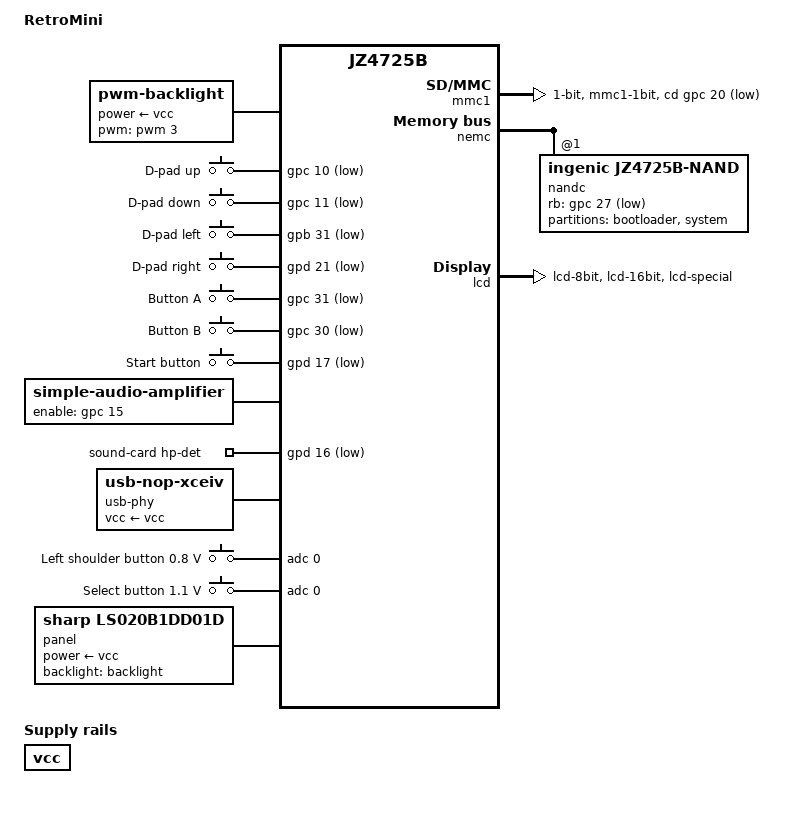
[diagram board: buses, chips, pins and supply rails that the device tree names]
// SPDX-License-Identifier: GPL-2.0
/dts-v1/;

#include "jz4725b.dtsi"

#include <dt-bindings/gpio/gpio.h>
#include <dt-bindings/input/input.h>
#include <dt-bindings/display/ingenic,jz4740-drm.h>

/ {
	compatible = "retromini", "ingenic,jz4725b";
	model = "RetroMini";

	aliases {
		serial0 = &uart;
	};

	chosen {
		stdout-path = "serial0:57600n8";
	};

	board {
		#address-cells = <1>;
		#size-cells = <1>;
		compatible = "simple-bus";
		ranges = <>;

		backlight: backlight {
			compatible = "pwm-backlight";
			pwms = <&pwm 3 40000 0>;

			brightness-levels = <0 16 32 48 64 80 96 112 128 144 160 176 192 208 224 240 255>;
			default-brightness-level = <12>;

			pinctrl-names = "default";
			pinctrl-0 = <&pins_pwm3>;

			power-supply = <&vcc>;
		};

		gpio-keys {
			compatible = "gpio-keys";
			#address-cells = <1>;
			#size-cells = <0>;

			autorepeat;

			button@0 {
				label = "D-pad up";
				linux,code = <KEY_UP>;
				gpios = <&gpc 10 GPIO_ACTIVE_LOW>;
				debounce-interval = <10>;
			};

			button@1 {
				label = "D-pad down";
				linux,code = <KEY_DOWN>;
				gpios = <&gpc 11 GPIO_ACTIVE_LOW>;
				debounce-interval = <10>;
			};

			button@2 {
				label = "D-pad left";
				linux,code = <KEY_LEFT>;
				gpios = <&gpb 31 GPIO_ACTIVE_LOW>;
				debounce-interval = <10>;
			};

			button@3 {
				label = "D-pad right";
				linux,code = <KEY_RIGHT>;
				gpios = <&gpd 21 GPIO_ACTIVE_LOW>;
				debounce-interval = <10>;
			};

			button@4 {
				label = "Button A";
				linux,code = <KEY_A>;
				gpios = <&gpc 31 GPIO_ACTIVE_LOW>;
				debounce-interval = <10>;
			};

			button@5 {
				label = "Button B";
				linux,code = <KEY_B>;
				gpios = <&gpc 30 GPIO_ACTIVE_LOW>;
				debounce-interval = <10>;
			};

/*
			button@6 {
				label = "Left shoulder button";
				linux,code = <KEY_TAB>;
				gpios = <&gpc 9 GPIO_ACTIVE_HIGH>;
				debounce-interval = <10>;
			};

			button@7 {
				label = "Right shoulder button";
				linux,code = <KEY_BACKSPACE>;
				gpios = <&gpc 12 GPIO_ACTIVE_LOW>;
				debounce-interval = <10>;
			};
			*/

			button@8 {
				label = "Start button";
				linux,code = <KEY_ENTER>;
				gpios = <&gpd 17 GPIO_ACTIVE_LOW>;
				debounce-interval = <10>;
			};
		};

		amp: audio-amp {
			compatible = "simple-audio-amplifier";
			enable-gpios = <&gpc 15 GPIO_ACTIVE_HIGH>;
		};

		sound-card {
			compatible = "simple-audio-card";

			simple-audio-card,name = "rs90-audio";
			simple-audio-card,format = "i2s";

			simple-audio-card,widgets =
				"Speaker", "Speaker",
				"Headphone", "Headphones";
			simple-audio-card,routing =
				"INL", "LHPOUT",
				"INR", "RHPOUT",
				"Headphones", "LHPOUT",
				"Headphones", "RHPOUT",
				"Speaker", "OUTL",
				"Speaker", "OUTR";

			simple-audio-card,hp-det-gpio = <&gpd 16 GPIO_ACTIVE_LOW>;
			simple-audio-card,aux-devs = <&amp>;

			simple-audio-card,bitclock-master = <&dai_codec>;
			simple-audio-card,frame-master = <&dai_codec>;

			dai_cpu: simple-audio-card,cpu {
				sound-dai = <&aic>;
			};

			dai_codec: simple-audio-card,codec {
				sound-dai = <&codec>;
			};

		};

		regulators {
			#address-cells = <1>;
			#size-cells = <0>;
			compatible = "simple-bus";

			vcc: regulator@0 {
				compatible = "regulator-fixed";

				regulator-name = "vcc";
				regulaor-min-microvolt = <3300000>;
				regulaor-max-microvolt = <3300000>;
				regulator-always-on;
			};
		};

		usb-phy {
			compatible = "usb-nop-xceiv";
			#phy-cells = <0>;

			clocks = <&cgu JZ4725B_CLK_UDC_PHY>;
			clock-names = "main_clk";
			vcc-supply = <&vcc>;
		};

		adc-keys {
			compatible = "adc-keys";
			io-channels = <&adc 0>;
			io-channel-names = "buttons";
			keyup-threshold-microvolt = <1400000>;
			poll-interval = <30>;
			autorepeat = <1>;

			left-shoulder {
				label = "Left shoulder button";
				linux,code = <KEY_TAB>;
				press-threshold-microvolt = <800000>;
			};
			button-select {
				label = "Select button";
				linux,code = <KEY_ESC>;
				press-threshold-microvolt = <1100000>;
			};
		};

		panel: panel {
			compatible = "sharp,ls020b1dd01d";

			backlight = <&backlight>;
			power-supply = <&vcc>;
		};
	};
};

&ext {
	clock-frequency = <12000000>;
};

&rtc_dev {
	system-power-controller;
};

&pinctrl {
	pins_mmc1: mmc1 {
		function = "mmc1";
		groups = "mmc1-1bit";
	};

	pins_uart: uart {
		function = "uart";
		groups = "uart-data";
	};

	pins_nemc: nemc {
		function = "nand";
		groups = "nand-cs1", "nand-cle-ale", "nand-fre-fwe";
	};

	pins_pwm3: pwm3 {
		function = "pwm3";
		groups = "pwm3";
		bias-disable;
	};

	pins_lcd: lcd {
		function = "lcd";
		groups = "lcd-8bit", "lcd-16bit", "lcd-special";
	};
};

&mmc0 {
	status = "disabled";
};

&mmc1 {
	bus-width = <1>;

	pinctrl-names = "default";
	pinctrl-0 = <&pins_mmc1>;

	cd-gpios = <&gpc 20 GPIO_ACTIVE_LOW>;
};

&uart {
	status = "disabled";

	pinctrl-names = "default";
	pinctrl-0 = <&pins_uart>;
};

&nemc {
	nandc: nand-controller@1 {
		compatible = "ingenic,jz4725b-nand";
		reg = <1 0 0x4000000>;

		#address-cells = <1>;
		#size-cells = <0>;

		ingenic,bch-controller = <&bch>;

		ingenic,nemc-tAS = <10>;
		ingenic,nemc-tAH = <5>;
		ingenic,nemc-tBP = <10>;
		ingenic,nemc-tAW = <15>;
		ingenic,nemc-tSTRV = <100>;

		pinctrl-names = "default";
		pinctrl-0 = <&pins_nemc>;

		rb-gpios = <&gpc 27 GPIO_ACTIVE_LOW>;

		nand@1 {
			reg = <1>;

			nand-ecc-step-size = <512>;
			nand-ecc-strength = <8>;
			nand-ecc-mode = "hw";
			nand-is-boot-medium;
			nand-on-flash-bbt;

			partitions {
				compatible = "fixed-partitions";
				#address-cells = <1>;
				#size-cells = <1>;

				partition@0 {
					label = "bootloader";
					reg = <0x0 0x20000>;
				};

				partition@20000 {
					label = "system";
					reg = <0x20000 0xffa0000>;
				};
			};
		};
	};
};

&cgu {
	assigned-clocks = <&cgu JZ4725B_CLK_RTC>;
	assigned-clock-parents = <&cgu JZ4725B_CLK_OSC32K>;
};

&timer {
	/* 750 kHz for the system timer and clocksource */
	assigned-clocks = <&tcu TCU_CLK_TIMER0>, <&tcu TCU_CLK_TIMER1>;
	assigned-clock-rates = <750000>, <750000>;
};

&lcd {
	pinctrl-names = "default";
	pinctrl-0 = <&pins_lcd>;

	ingenic,panel = <&panel>;
	ingenic,lcd-mode = <JZ_DRM_LCD_SPECIAL_TFT_2>;
};
